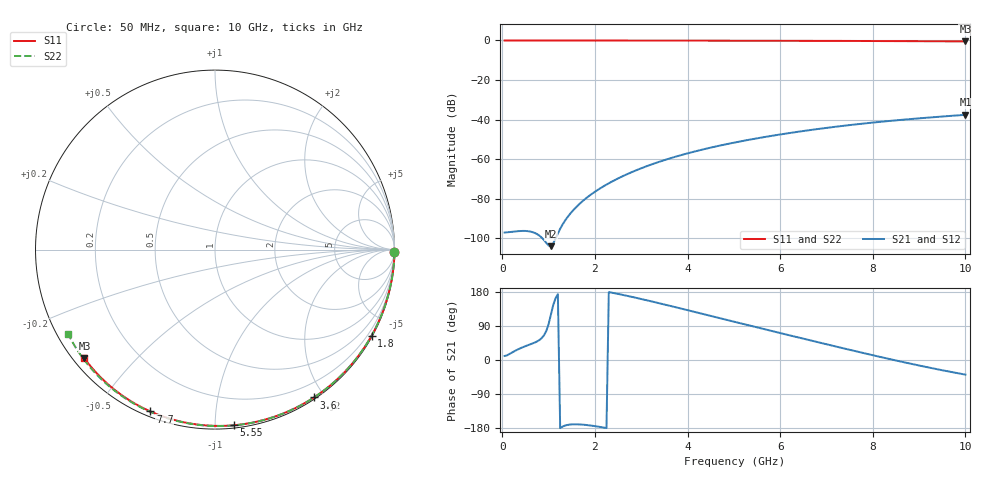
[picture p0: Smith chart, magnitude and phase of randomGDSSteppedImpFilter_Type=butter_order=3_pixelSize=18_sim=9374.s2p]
! freq	dB(S11)	phase(S11)	dB(S12)	phase(S12)
!  dB(S21)	phase(S21)	dB(S22)	phase(S22)
!S-par simulation data
#  GHz  S  DB  R 50
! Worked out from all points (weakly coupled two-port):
!   200 points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, 50 MHz to 10 GHz, reference 50 ohm
!   highest |S21| = -37.62 dB at 10 GHz (marker M1); lowest = -104.1 dB at 1.05 GHz (marker M2)
!   lowest |S11| = -0.5 dB at 10 GHz (marker M3), VSWR 36.54, Z = 1.55 - j18.1 ohm
!   |S11| at or under -10 dB: nowhere
!   |S22| runs from -0.5 to 0.0 dB; largest |S21 - S12| = 0
!   S11 on the Smith chart (normalised r, x): 50 MHz: open; 1.8 GHz: 0.03, -3.90; 3.6 GHz: 0.02, -1.87; 5.55 GHz: 0.02, -1.12; 7.7 GHz: 0.02, -0.68; 10 GHz: 0.03, -0.36
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0.05  -0.00 -0.8  -97.17 10.7  -97.17 10.7  -0.00 -0.9
0.55  -0.01 -8.9  -96.47 38.8  -96.47 38.8  -0.01 -9.5
1.05  -0.02 -16.9  -104.07 119.7  -104.07 119.7  -0.02 -18.1
1.75  -0.04 -28.0  -80.96 -170.7  -80.96 -170.7  -0.04 -29.9
1.8  -0.04 -28.8  -79.99 -171.3  -79.99 -171.3  -0.04 -30.7
1.95  -0.04 -31.1  -77.35 -173.6  -77.35 -173.6  -0.04 -33.2
2.1  -0.04 -33.4  -75.02 -176.4  -75.02 -176.4  -0.05 -35.7
2.3  -0.05 -36.5  -72.25 179.2  -72.25 179.2  -0.05 -39.0
2.5  -0.05 -39.6  -69.80 174.4  -69.80 174.4  -0.05 -42.3
2.9  -0.06 -45.7  -65.59 163.8  -65.59 163.8  -0.06 -48.7
3.4  -0.07 -53.2  -61.29 149.5  -61.29 149.5  -0.08 -56.7
3.6  -0.08 -56.2  -59.79 143.6  -59.79 143.6  -0.08 -59.8
3.9  -0.08 -60.6  -57.75 134.6  -57.75 134.6  -0.09 -64.5
4.3  -0.09 -66.3  -55.32 122.5  -55.32 122.5  -0.10 -70.6
5.05  -0.12 -76.9  -51.48 99.7  -51.48 99.7  -0.13 -81.8
5.55  -0.14 -83.8  -49.31 84.6  -49.31 84.6  -0.15 -89.1
6.1  -0.16 -91.1  -47.19 68.2  -47.19 68.2  -0.17 -96.9
6.7  -0.19 -99.0  -45.16 50.3  -45.16 50.3  -0.20 -105.3
7.7  -0.26 -111.8  -42.28 21.1  -42.28 21.1  -0.27 -118.9
8.35  -0.31 -119.9  -40.74 2.8  -40.74 2.8  -0.33 -127.6
9.2  -0.39 -130.4  -39.02 -19.6  -39.02 -19.6  -0.41 -139.0
10  -0.48 -140.2  -37.62 -38.6  -37.62 -38.6  -0.50 -149.9
